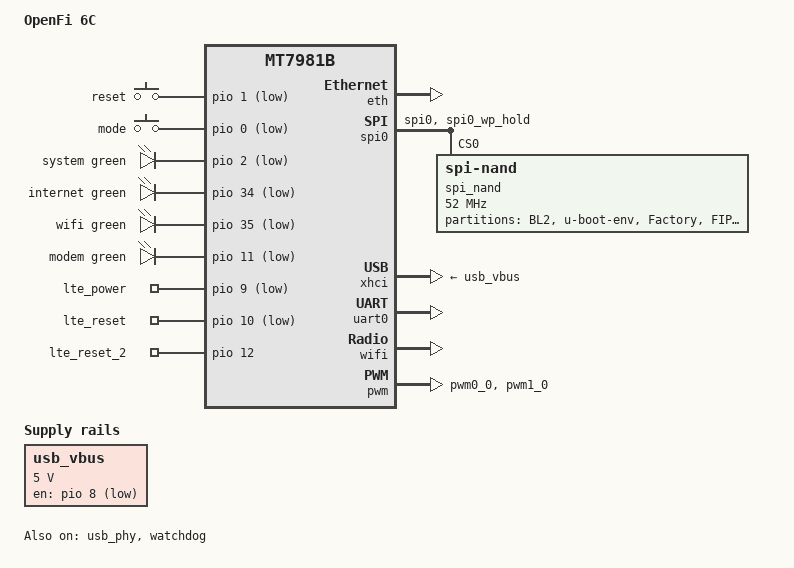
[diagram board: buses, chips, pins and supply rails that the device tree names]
// SPDX-License-Identifier: (GPL-2.0 OR MIT)

/dts-v1/;

#include <dt-bindings/gpio/gpio.h>
#include <dt-bindings/input/input.h>
#include <dt-bindings/leds/common.h>

#include "mt7981b.dtsi"

/ {
	model = "OpenFi 6C";
	compatible = "openfi,6c", "mediatek,mt7981b";

	aliases {
		label-mac-device = &gmac1;
		led-boot = &led_sys_green;
		led-failsafe = &led_sys_green;
		led-running = &led_sys_green;
		led-upgrade = &led_sys_green;
		serial0 = &uart0;
	};

	chosen {
		stdout-path = "serial0:115200n8";
	};

	gpio-keys {
		compatible = "gpio-keys";

		reset {
			label = "reset";
			linux,code = <KEY_RESTART>;
			gpios = <&pio 1 GPIO_ACTIVE_LOW>;
		};

		mode {
			label = "mode";
			linux,input-type = <EV_SW>;
			linux,code = <BTN_0>;
			gpios = <&pio 0 GPIO_ACTIVE_LOW>;
			debounce-interval = <60>;
		};
	};

	gpio-leds {
		compatible = "gpio-leds";

		led_sys_green: led-0 {
			label = "system";
			color = <LED_COLOR_ID_GREEN>;
			gpios = <&pio 2 GPIO_ACTIVE_LOW>;
			default-state = "on";
		};

		led-1 {
			label = "internet";
			color = <LED_COLOR_ID_GREEN>;
			gpios = <&pio 34 GPIO_ACTIVE_LOW>;
		};

		led-2 {
			label = "wifi";
			color = <LED_COLOR_ID_GREEN>;
			gpios = <&pio 35 GPIO_ACTIVE_LOW>;
		};

		led-3 {
			label = "modem";
			color = <LED_COLOR_ID_GREEN>;
			gpios = <&pio 11 GPIO_ACTIVE_LOW>;
		};
	};

	gpio-export {
		compatible = "gpio-export";

		lte_power {
			gpio-export,name = "lte_power";
			gpio-export,output = <1>;
			gpios = <&pio 9 GPIO_ACTIVE_LOW>;
		};

		lte_reset {
			gpio-export,name = "lte_reset";
			gpio-export,output = <1>;
			gpios = <&pio 10 GPIO_ACTIVE_LOW>;
		};

		lte_reset_2 {
			gpio-export,name = "lte_reset_2";
			gpio-export,output = <0>;
			gpios = <&pio 12 GPIO_ACTIVE_HIGH>;
		};
	};

	usb_vbus: regulator-usb-vbus {
		compatible = "regulator-fixed";
		regulator-name = "usb_vbus";
		regulator-min-microvolt = <5000000>;
		regulator-max-microvolt = <5000000>;
		gpios = <&pio 8 GPIO_ACTIVE_LOW>;
		regulator-boot-on;
	};
};

&fan {
	pwms = <&pwm 0 40000 0>;
	/* OpenFi uses two inverted PWM outputs, owned by the openfi service. */
	status = "disabled";
};

&eth {
	pinctrl-names = "default";
	pinctrl-0 = <&mdio_pins>;
	status = "okay";

	gmac1: mac@1 {
		compatible = "mediatek,eth-mac";
		reg = <1>;
		phy-mode = "gmii";
		phy-handle = <&int_gbe_phy>;
		nvmem-cells = <&macaddr_factory_4 0>;
		nvmem-cell-names = "mac-address";
	};
};

&spi0 {
	pinctrl-names = "default";
	pinctrl-0 = <&spi0_flash_pins>;
	status = "okay";

	spi_nand: flash@0 {
		compatible = "spi-nand";
		reg = <0>;
		spi-max-frequency = <52000000>;

		spi-cal-enable;
		spi-cal-mode = "read-data";
		spi-cal-datalen = <7>;
		spi-cal-data = /bits/ 8 <0x53 0x50 0x49 0x4E 0x41 0x4E 0x44>;
		spi-cal-addrlen = <5>;
		spi-cal-addr = /bits/ 32 <0x0 0x0 0x0 0x0 0x0>;

		spi-tx-bus-width = <4>;
		spi-rx-bus-width = <4>;
		mediatek,nmbm;
		mediatek,bmt-max-ratio = <1>;
		mediatek,bmt-max-reserved-blocks = <64>;

		partitions {
			compatible = "fixed-partitions";
			#address-cells = <1>;
			#size-cells = <1>;

			partition@0 {
				label = "BL2";
				reg = <0x00000 0x0100000>;
				read-only;
			};

			partition@100000 {
				label = "u-boot-env";
				reg = <0x0100000 0x0080000>;
			};

			factory: partition@180000 {
				label = "Factory";
				reg = <0x180000 0x0200000>;
				read-only;

				nvmem-layout {
					compatible = "fixed-layout";
					#address-cells = <1>;
					#size-cells = <1>;

					eeprom_factory_0: eeprom@0 {
						reg = <0x0 0x1000>;
					};

					macaddr_factory_4: macaddr@4 {
						compatible = "mac-base";
						reg = <0x4 0x6>;
						#nvmem-cell-cells = <1>;
					};
				};
			};

			partition@380000 {
				label = "FIP";
				reg = <0x380000 0x0200000>;
				read-only;
			};

			partition@580000 {
				label = "hw";
				reg = <0x0580000 0x0080000>;
				read-only;
			};

			partition@600000 {
				label = "cfg";
				reg = <0x0600000 0x0080000>;
				read-only;
			};

			partition@680000 {
				label = "ubi";
				reg = <0x680000 0xe980000>;
			};
		};
	};
};

&pio {
	spi0_flash_pins: spi0-pins {
		mux {
			function = "spi";
			groups = "spi0", "spi0_wp_hold";
		};
	};

	pwm_pins: pwm-pins {
		mux {
			function = "pwm";
			groups = "pwm0_0", "pwm1_0";
		};
	};
};

&hnat {
	mtketh-lan = "eth0";
	mtketh-lan2 = "/";
	mtketh-wan = "/";
	mtketh-ppd = "eth0";
};

&usb_phy {
	status = "okay";
};

&xhci {
	status = "okay";
	vbus-supply = <&usb_vbus>;
};

&uart0 {
	status = "okay";
};

&watchdog {
	status = "okay";
};

&wifi {
	compatible = "mediatek,wbsys";
	/* Read the official Factory layout without the 4 KiB mt76 cell limit. */
	mediatek,mtd-eeprom = <&factory 0>;
	status = "okay";
};

&pwm {
	pinctrl-names = "default";
	pinctrl-0 = <&pwm_pins>;
	status = "okay";
};
